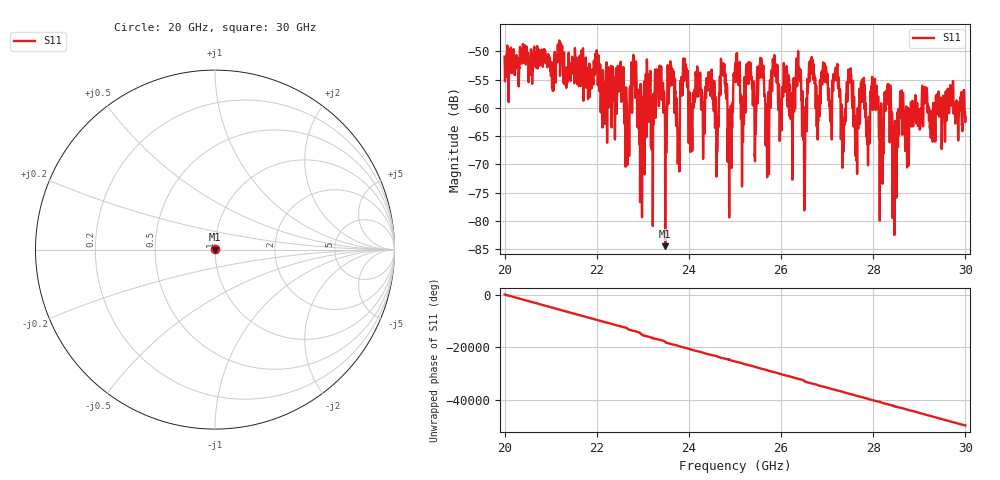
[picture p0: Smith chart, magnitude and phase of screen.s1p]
#  HZ  S  RI  R  50.00
! Rohde & Schwarz ZVA40 4Ports - Version 3.90 - 1145.1110k42 SN: 100403
! Date: 2023-10-03 13:04:29
! Measurement: S12
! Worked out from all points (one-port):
!   5001 points, 20 GHz to 30 GHz, reference 50 ohm
!   lowest |S11| = -84.5 dB at 23.49 GHz (marker M1), VSWR 1.00, Z = 50 + j0.00444 ohm
!   |S11| at or under -10 dB: start of sweep to end of sweep
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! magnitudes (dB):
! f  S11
! 20 GHz  -50.9
! 21.25 GHz  -49.1
! 22.5 GHz  -53.3
! 23.49 GHz  -84.5
! 23.63 GHz  -55.1
! 23.75 GHz  -64.0
! 23.92 GHz  -53.3
! 24.61 GHz  -67.2
! 24.74 GHz  -54.3
! 24.89 GHz  -63.7
! 25 GHz  -53.1
! 25.16 GHz  -63.9
! 25.29 GHz  -55.8
! 25.42 GHz  -59.5
! 25.58 GHz  -52.2
! 25.7 GHz  -70.0
! 25.87 GHz  -53.4
! 26.25 GHz  -65.0
! 27.18 GHz  -52.9
! 27.34 GHz  -62.1
! 27.5 GHz  -54.9
! 27.64 GHz  -67.1
! 28.05 GHz  -59.1
! 28.18 GHz  -60.3
! 28.34 GHz  -57.7
! 28.46 GHz  -68.8
! 28.75 GHz  -60.3
! 30 GHz  -61.6
